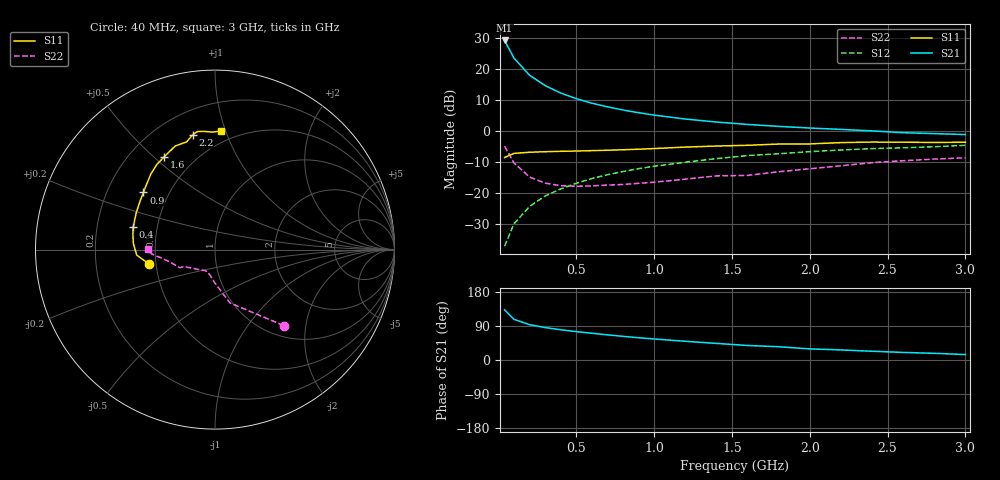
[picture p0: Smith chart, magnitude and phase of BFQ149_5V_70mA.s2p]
! Filename:  BFQ149D.S2P  Version:  2.0
! Philips part #: BFQ149  Date: Aug 1990
! Bias condition: Vce=-5V, Ic=-70mA
#  MHz  S  MA  R  50
! Freq  S11  S21  S12  S22  !GUM [dB]
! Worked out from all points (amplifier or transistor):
!   21 points, 40 MHz to 3 GHz, reference 50 ohm
!   highest |S21| = 29.2 dB at 40 MHz (marker M1)
!   |S21| within 3 dB of that: start of sweep to 71.74 MHz
!   unconditionally stable (mu >= 1): 139 MHz to 1.064 GHz
!   at 300 MHz: K = 1.04, MAG = 16.6 dB, |S12| = -20.9 dB
!   at 1 GHz: K = 1.01, MAG = 7.7 dB, |S12| = -11.3 dB
!   at 3 GHz: K = 0.93, MSG = 1.7 dB, |S12| = -4.6 dB
!   S11 on the Smith chart (normalised r, x): 40 MHz: 0.46, -0.09; 400 MHz: 0.36, +0.12; 900 MHz: 0.36, +0.31; 1.6 GHz: 0.34, +0.54; 2.2 GHz: 0.34, +0.76; 3 GHz: 0.41, +0.96
40  0.375 -167.6  28.81 132.4  0.014 78.1  0.57 -47.9
100  0.437 -175.9  15 107.3  0.032 80.4  0.308 -74.4
200  0.456 175.8  7.955 93.3  0.061 80.1  0.182 -91.0
300  0.465 169.7  5.402 85.6  0.09 79.1  0.145 -100.9
400  0.472 164.7  4.104 79.8  0.117 77.4  0.132 -108.5
500  0.477 159.7  3.331 74.9  0.144 75.6  0.129 -114.0
600  0.484 155.1  2.812 70.6  0.172 74.0  0.131 -118.2
700  0.491 150.3  2.459 66.4  0.198 72.2  0.135 -122.2
800  0.5 145.8  2.185 62.5  0.223 70.3  0.138 -125.7
900  0.51 141.4  1.978 58.8  0.248 68.4  0.144 -129.6
1000  0.523 137.4  1.808 55.5  0.271 66.6  0.15 -133.9
1200  0.552 130.4  1.564 49.4  0.315 63.5  0.168 -142.5
1400  0.574 124.5  1.399 43.8  0.36 60.5  0.19 -149.5
1600  0.59 118.5  1.279 38.3  0.403 56.2  0.193 -151.1
1800  0.618 111.1  1.19 35.0  0.431 54.0  0.221 -152.9
2000  0.621 104.7  1.12 29.3  0.466 50.9  0.247 -161.4
2200  0.652 101.0  1.064 26.6  0.495 48.9  0.276 -167.3
2400  0.665 98.5  1.007 23.1  0.522 46.3  0.31 -172.0
2600  0.662 95.7  0.941 20.0  0.537 43.4  0.333 -174.1
2800  0.655 91.3  0.91 17.6  0.56 41.3  0.354 -176.2
3000  0.661 87.1  0.88 14.4  0.589 38.8  0.371 179.6
